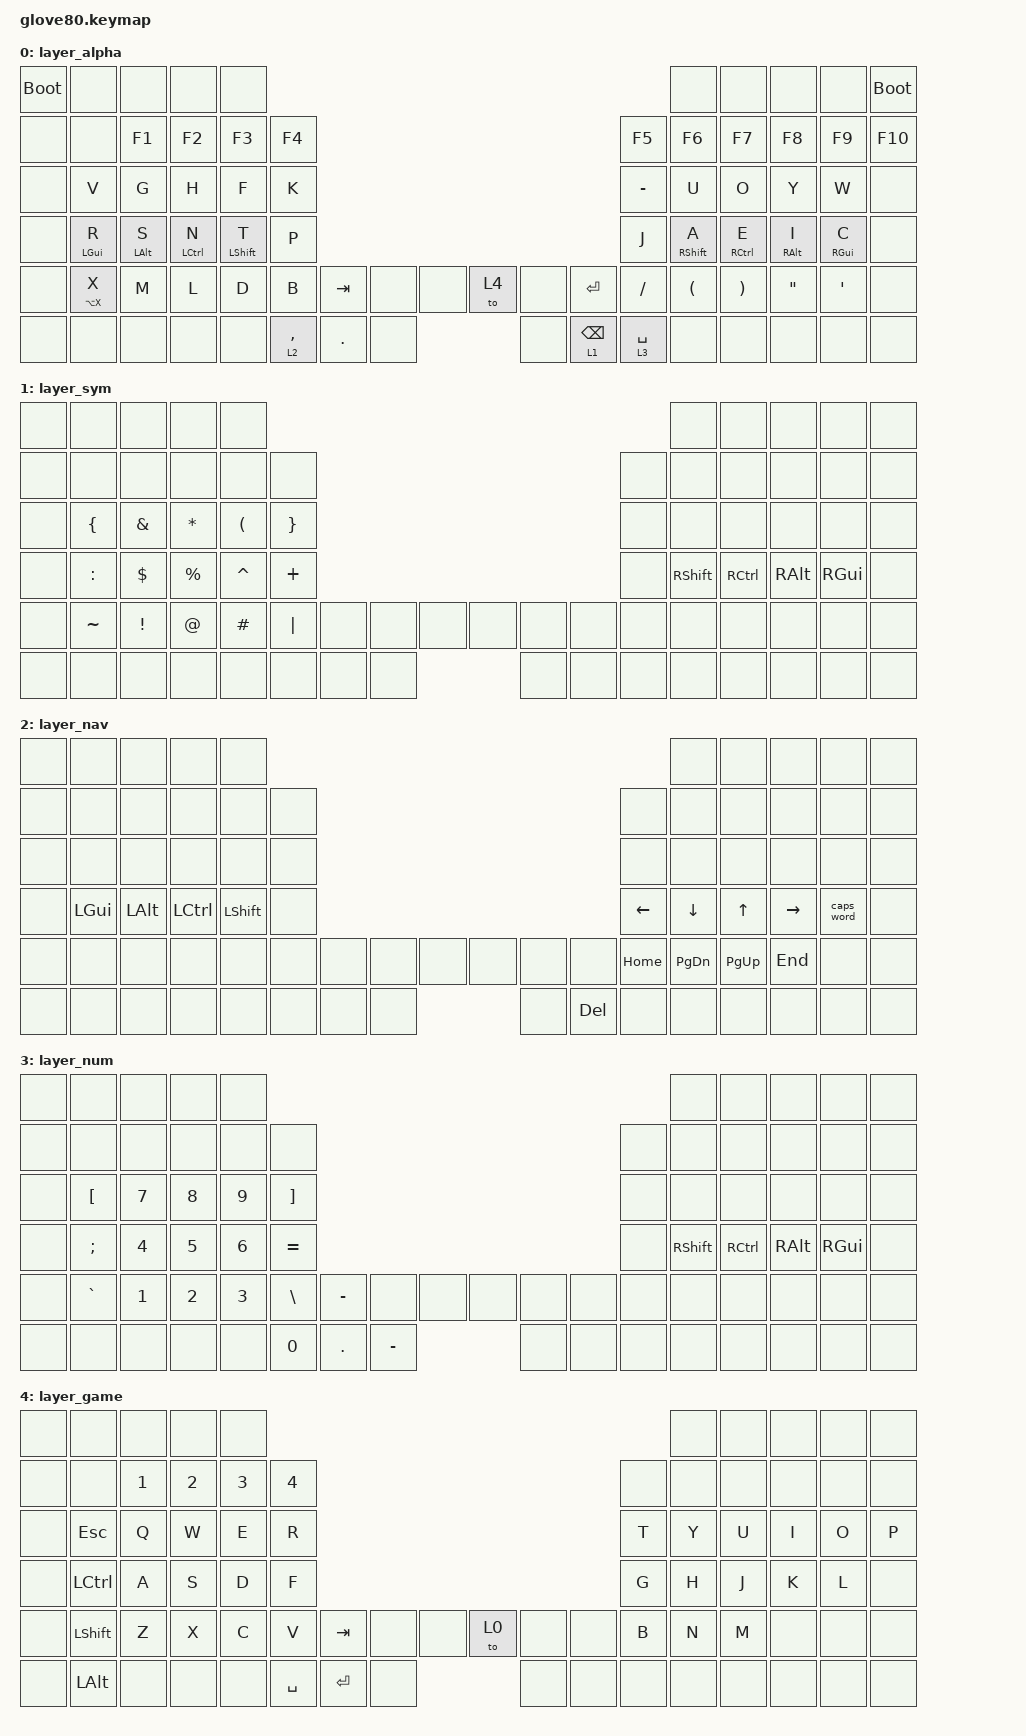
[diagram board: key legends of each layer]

/*
 * Copyright (c) 2020 The ZMK Contributors
 * Copyright (c) 2022 Innaworks Development Limited, trading as MoErgo
 *
 * SPDX-License-Identifier: MIT
 */


/* THIS FILE WAS GENERATED BY GLOVE80 LAYOUT EDITOR
 *
 * This file was generated automatically. You may or may not want to
 * edit it directly.
 */

#include <behaviors.dtsi>
/* Include all behaviour includes needed by system behaviors/macros */
#include <dt-bindings/zmk/outputs.h>

/* Include behaviour includes needed by key binds - automatically generated */
#include <dt-bindings/zmk/keys.h>
#include <dt-bindings/zmk/bt.h>
#include <dt-bindings/zmk/rgb.h>
#include <dt-bindings/zmk/outputs.h>


/ {
    /* Glove80 system behavior & macros */
    behaviors {
        hm: homerow_mods {
            compatible = "zmk,behavior-hold-tap";
            label = "HOMEROW_MODS";
            #binding-cells = <2>;
            tapping-term-ms = <150>;
            quick-tap-ms = <0>;
            flavor = "tap-preferred";
            bindings = <&kp>, <&kp>;
        };

        bhm: balanced_homerow_mods {
            compatible = "zmk,behavior-hold-tap";
            label = "HOMEROW_MODS";
            #binding-cells = <2>;
            tapping-term-ms = <200>;    // <---[[moderate duration]]
            quick-tap-ms = <0>;
            flavor = "balanced";
            bindings = <&kp>, <&kp>;
        };

        am: auto_mod {
            compatible = "zmk,behavior-hold-tap";
            #binding-cells = <2>;
            tapping_term_ms = <250>;
            quick_tap_ms = <0>;
            flavor = "tap-preferred";
            bindings = <&kp>, <&kp>;
        };
    };

/* Use these key positions for Hold Tap hold-trigger-key-positions and Combos

          .----.----.----.                                                  .----.----.----.
.----.----|  2 |  3 |  4 |                                                  |  5 |  6 |  7 |----.----.
|  0 |  1 |----+----+----+----.                                        .----+----+----+----|  8 |  9 |
|----|----| 12 | 13 | 14 | 15 |                                        | 16 | 17 | 18 | 19 |----|----|
| 10 | 11 |----+----+----+----|                                        |----+----+----+----| 20 | 21 |
|----|----| 24 | 25 | 26 | 27 |                                        | 28 | 29 | 30 | 31 |----|----|
| 22 | 23 |----+----+----+----|                                        |----+----+----+----| 32 | 33 |
|----|----| 36 | 37 | 38 | 39 |                                        | 40 | 41 | 42 | 43 |----|----|
| 34 | 35 |----+----+----+----|                                        |----+----+----+----| 44 | 45 |
|----|----| 48 | 49 | 50 | 51 |                                        | 58 | 59 | 60 | 61 |----|----|
| 46 | 47 |----+----+----+----'                                        '----+----+----+----| 62 | 63 |
|----|----| 66 | 67 | 68 |       .----.                        .----.       | 75 | 76 | 77 |----|----|
| 64 | 65 |----'----'----'  .----| 52 |----.              .----| 57 |----.  '----'----'----| 78 | 79 |
'----'----'                 | 69 |----| 53 |----.    .----| 56 |----| 74 |                 '----'----'
                            '----| 70 |----| 54 |    | 55 |----| 73 |----'
                                 '----| 71 |----'    '----| 72 |----'
                                      '----'              '----'
*/

    combos {
        compatible = "zmk,combos";
        combo_esc {
            timeout-ms = <50>;
            key-positions = <28 29>;
            bindings = <&kp ESC>;
        };
        combo_z {
            timeout-ms = <50>;
            key-positions = <23 24>;
            bindings = <&kp Z>;
        };
        combo_q {
            timeout-ms = <50>;
            key-positions = <26 27>;
            bindings = <&kp Q>;
        };
    };


    /* Automatically generated keymap */
    keymap {
        compatible = "zmk,keymap";


        layer_alpha {
            bindings = <
 &bootloader       &none       &none        &none        &none                                                                                            &none        &none       &none       &none  &bootloader
       &none       &none       &kp F1       &kp F2       &kp F3  &kp F4                                                                     &kp F5        &kp F6       &kp F7      &kp F8      &kp F9     &kp F10
       &none       &kp V       &kp G        &kp H        &kp F   &kp K                                                                   &kp MINUS        &kp U        &kp O       &kp Y       &kp W        &none
       &none  &bhm LGUI R  &bhm LALT S  &bhm LCTRL N  &bhm LSHFT T   &kp P                                                               &kp J  &bhm RSHFT A  &bhm RCTRL E  &bhm RALT I  &bhm RGUI C        &none
       &none    &am LA(X) X    &kp M        &kp L        &kp D   &kp B      &kp TAB    &none   &none   &to 4        &none      &kp RET    &kp FSLH     &kp LPAR     &kp RPAR     &kp DQT     &kp SQT        &none
       &none       &none       &none        &none        &none          &lt 2 COMMA  &kp DOT   &none   &none   &lt 1 BSPC  &lt 3 SPACE                    &none        &none       &none       &none        &none
            >;
        };

        layer_sym {
            bindings = <
  &none      &none     &none      &none      &none                                                                        &none      &none     &none     &none   &none
  &none      &none     &none      &none      &none     &none                                                   &none      &none      &none     &none     &none   &none
  &none   &kp LBRC  &kp AMPS   &kp STAR   &kp LPAR  &kp RBRC                                                   &none      &none      &none     &none     &none   &none
  &none  &kp COLON  &kp DLLR  &kp PRCNT  &kp CARET  &kp PLUS                                                   &none  &kp RSHFT  &kp RCTRL  &kp RALT  &kp RGUI   &none
  &none  &kp TILDE  &kp EXCL     &kp AT   &kp HASH  &kp PIPE   &none   &none   &none   &none   &none   &none   &none      &none      &none     &none     &none   &none
  &none      &none     &none      &none      &none             &none   &none   &none   &none   &none   &none              &none      &none     &none     &none   &none
            >;
        };

        layer_nav {
            bindings = <
  &none     &none     &none      &none      &none                                                                        &none      &none      &none       &none   &none
  &none     &none     &none      &none      &none   &none                                                     &none      &none      &none      &none       &none   &none
  &none     &none     &none      &none      &none   &none                                                     &none      &none      &none      &none       &none   &none
  &none  &kp LGUI  &kp LALT  &kp LCTRL  &kp LSHFT   &none                                                  &kp LEFT   &kp DOWN     &kp UP  &kp RIGHT  &caps_word   &none
  &none     &none     &none      &none      &none   &none   &none   &none   &none   &none   &none   &none  &kp HOME  &kp PG_DN  &kp PG_UP    &kp END       &none   &none
  &none     &none     &none      &none      &none           &none   &none   &none   &none   &kp DEL &none                &none      &none      &none       &none   &none
            >;
        };

        layer_num {
            bindings = <
  &none      &none   &none   &none   &none                                                                             &none      &none     &none     &none   &none
  &none      &none   &none   &none   &none      &none                                                       &none      &none      &none     &none     &none   &none
  &none   &kp LBKT  &kp N7  &kp N8  &kp N9   &kp RBKT                                                       &none      &none      &none     &none     &none   &none
  &none   &kp SEMI  &kp N4  &kp N5  &kp N6  &kp EQUAL                                                       &none  &kp RSHFT  &kp RCTRL  &kp RALT  &kp RGUI   &none
  &none  &kp GRAVE  &kp N1  &kp N2  &kp N3   &kp BSLH  &kp MINUS  &none    &none       &none   &none   &none   &none      &none      &none     &none     &none   &none
  &none      &none   &none   &none   &none             &kp N0     &kp DOT  &kp MINUS   &none   &none   &none              &none      &none     &none     &none   &none
            >;
        };

        layer_game {
            bindings = <
  &none    &none    &none  &none  &none                                                                 &none  &none  &none  &none  &none
  &none    &none    &kp N1 &kp N2 &kp N3 &kp N4                                                 &none  &none  &none  &none  &none  &none
  &none  &kp ESC    &kp Q  &kp W  &kp E  &kp R                                                  &kp T  &kp Y  &kp U  &kp I  &kp O  &kp P
  &none  &kp LCTRL  &kp A  &kp S  &kp D  &kp F                                                  &kp G  &kp H  &kp J  &kp K  &kp L  &none
  &none  &kp LSHFT  &kp Z  &kp X  &kp C  &kp V  &kp TAB    &none    &none    &to 0  &none  &none  &kp B  &kp N  &kp M  &none  &none  &none
  &none  &kp LALT   &none  &none  &none         &kp SPACE  &kp RET  &none    &none  &none  &none         &none  &none  &none  &none  &none
            >;
        };
    };
};
